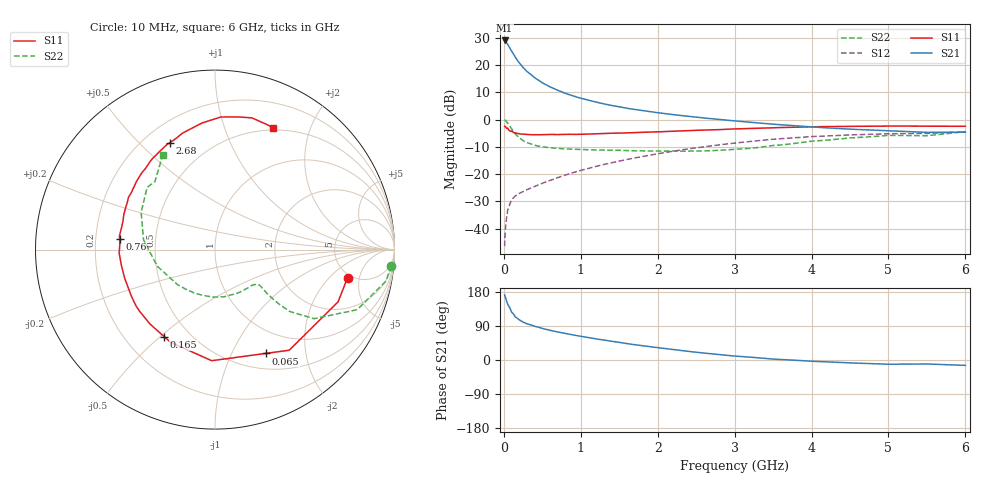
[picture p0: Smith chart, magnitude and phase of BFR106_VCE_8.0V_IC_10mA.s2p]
! Infineon Technologies  Discrete & RF Semiconductors
! BFR106
! VCE =  8.0 V,  IC =  10 mA
! Common Emitter S-Parameters:  Nov 2015
# GHz  S  MA  R  50
!  f  S11  S21  S12  S22
! GHz  MAG  ANG  MAG  ANG  MAG  ANG  MAG  ANG
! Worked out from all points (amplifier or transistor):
!   210 points, 10 MHz to 6 GHz, reference 50 ohm
!   highest |S21| = 29.0 dB at 10 MHz (marker M1)
!   |S21| within 3 dB of that: start of sweep to 81.82 MHz
!   unconditionally stable (mu >= 1): 490.8 MHz to 2.005 GHz; 5.379 GHz to end of sweep
!   at 185 MHz: K = 0.56, MSG = 24.4 dB, |S12| = -27.3 dB
!   at 1.52 GHz: K = 1.07, MAG = 8.2 dB, |S12| = -15.1 dB
!   at 6 GHz: K = 1.00, MAG = -0.5 dB, |S12| = -4.5 dB
!   S11 on the Smith chart (normalised r, x): 10 MHz: 4.65, -3.37; 65 MHz: 0.69, -1.36; 165 MHz: 0.36, -0.52; 760 MHz: 0.30, +0.05; 2.68 GHz: 0.30, +0.62; 6 GHz: 0.47, +1.48
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0.01  0.7553 -11.9  28.07 171.9  0.0048 85.3  0.9859 -5.3
0.02  0.745 -23.0  27.34 165.6  0.0098 79.1  0.9691 -10.4
0.05  0.6966 -53.6  23.87 147.0  0.0218 65.3  0.86 -22.9
0.065  0.6441 -63.9  21.87 142.1  0.0253 60.9  0.8005 -25.9
0.1  0.6193 -91.7  18.06 126.8  0.0338 54.3  0.6728 -34.9
0.15  0.5724 -115.7  13.67 113.7  0.0401 48.3  0.5413 -39.6
0.165  0.5617 -120.2  12.82 111.7  0.0414 48.1  0.5181 -39.8
0.2  0.5507 -131.1  10.94 106.0  0.0443 47.8  0.464 -40.4
0.24  0.5427 -140.6  9.357 101.2  0.0473 48.2  0.4198 -40.4
0.3  0.5335 -150.7  7.602 95.6  0.0518 50.0  0.3775 -40.1
0.4  0.5279 -162.6  5.836 89.0  0.0595 52.9  0.3372 -39.0
0.5  0.5288 -170.6  4.707 83.2  0.068 56.0  0.316 -38.6
0.6  0.5344 -177.9  3.971 78.3  0.0768 58.2  0.3043 -39.4
0.76  0.5347 173.8  3.182 71.6  0.0924 60.9  0.2922 -42.0
1.02  0.5378 162.2  2.415 61.8  0.1192 63.4  0.283 -47.6
1.4  0.5632 148.8  1.808 49.6  0.1614 63.7  0.2747 -59.4
2.02  0.5963 130.2  1.323 32.0  0.2389 59.6  0.2644 -84.8
2.68  0.6465 112.9  1.042 16.7  0.3276 51.7  0.2688 -118.9
3.1  0.679 103.6  0.918 9.0  0.3835 45.2  0.2899 -142.8
4.1  0.7406 86.0  0.717 -4.0  0.4939 28.0  0.4099 167.9
5.1  0.7601 73.2  0.613 -11.1  0.5505 12.3  0.5111 136.3
6  0.752 64.4  0.587 -14.2  0.5954 0.9  0.6004 119.1
